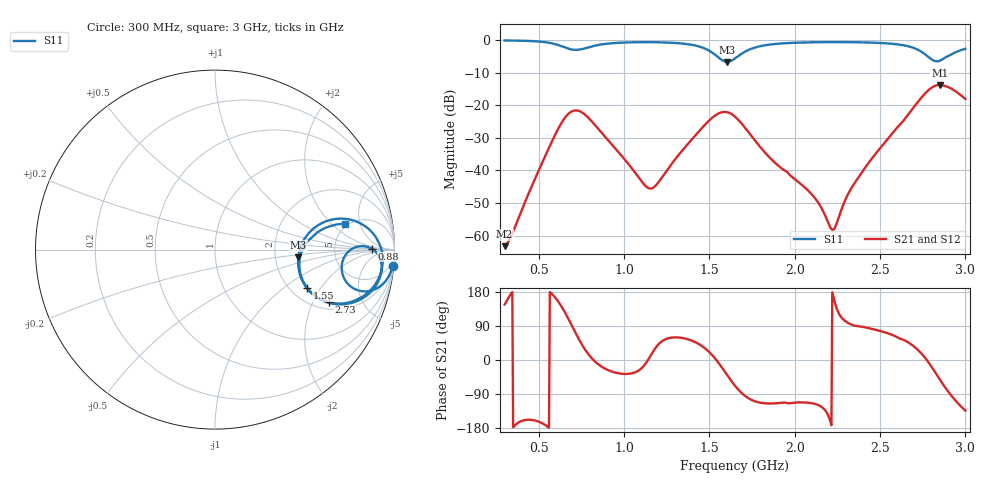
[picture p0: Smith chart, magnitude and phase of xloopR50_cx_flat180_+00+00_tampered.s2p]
! xloopR50_cx_flat180_+00+00_tampered, gap C 0.80 pF
! simulated by sim/fixtures_fdtd.py (S12 = S21, S22 not computed)
# HZ S RI R 50
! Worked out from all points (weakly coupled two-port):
!   541 points, 300 MHz to 3 GHz, reference 50 ohm
!   highest |S21| = -13.71 dB at 2.85 GHz (marker M1); lowest = -63.3 dB at 300 MHz (marker M2)
!   lowest |S11| = -6.6 dB at 1.605 GHz (marker M3), VSWR 2.75, Z = 135 - j14.7 ohm
!   |S11| at or under -10 dB: nowhere
!   |S22| runs from - to - dB; largest |S21 - S12| = 0
!   S11 on the Smith chart (normalised r, x): 300 MHz: 1, -21; 880 MHz: 15, +1; 1.55 GHz: 2.44, -1.50; 2.73 GHz: 2.33, -2.65; 3 GHz: 4.72, +3.00
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3e8  0.9896 -0.0925  -0.000571 0.00038  -0.000571 0.00038  0 0
3.4e8  0.9852 -0.1081  -0.000998 6.29e-05  -0.000998 6.29e-05  0 0
5.1e8  0.9324 -0.1944  -0.0111 -0.00305  -0.0111 -0.00305  0 0
6.25e8  0.7933 -0.2258  -0.0415 0.0267  -0.0415 0.0267  0 0
6.9e8  0.7107 -0.1372  -0.00575 0.0796  -0.00575 0.0796  0 0
7.5e8  0.7279 -0.0292  0.0577 0.0537  0.0577 0.0537  0 0
8.8e8  0.8732 0.00514  0.0327 -0.0123  0.0327 -0.0123  0 0
1.13e9  0.927 -0.1223  0.0056 -0.000697  0.0056 -0.000697  0 0
1.2e9  0.9171 -0.1601  0.00493 0.00425  0.00493 0.00425  0 0
1.395e9  0.8063 -0.2796  0.0184 0.0231  0.0184 0.0231  0 0
1.55e9  0.5112 -0.2129  0.074 -0.00702  0.074 -0.00702  0 0
1.605e9  0.464 -0.0426  0.0599 -0.0507  0.0599 -0.0507  0 0
1.65e9  0.5192 0.0878  0.0251 -0.0622  0.0251 -0.0622  0 0
1.72e9  0.6708 0.1706  -0.00598 -0.0412  -0.00598 -0.0412  0 0
1.83e9  0.8307 0.1341  -0.00759 -0.0167  -0.00759 -0.0167  0 0
2.1e9  0.9309 -0.0161  -0.00175 -0.00391  -0.00175 -0.00391  0 0
2.225e9  0.9344 -0.0723  -0.0012 0.000216  -0.0012 0.000216  0 0
2.335e9  0.926 -0.1207  -0.000283 0.00552  -0.000283 0.00552  0 0
2.55e9  0.8626 -0.2299  0.0109 0.0296  0.0109 0.0296  0 0
2.73e9  0.6327 -0.2932  0.1107 0.0469  0.1107 0.0469  0 0
2.85e9  0.4859 -0.0043  0.1285 -0.1613  0.1285 -0.1613  0 0
3e9  0.7258 0.1441  -0.0866 -0.0908  -0.0866 -0.0908  0 0
